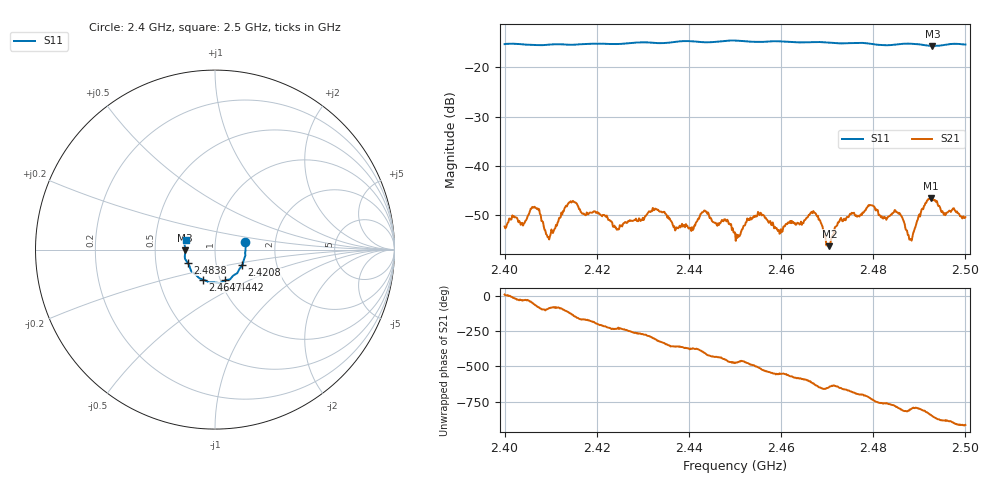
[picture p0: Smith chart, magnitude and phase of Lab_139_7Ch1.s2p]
# Hz S RI R 50
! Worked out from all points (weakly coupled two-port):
!   601 points, 2.4 GHz to 2.5 GHz, reference 50 ohm
!   highest |S21| = -46.61 dB at 2.4925 GHz (marker M1); lowest = -56.4 dB at 2.4705 GHz (marker M2)
!   lowest |S11| = -15.6 dB at 2.4928 GHz (marker M3), VSWR 1.40, Z = 35.8 - j0.364 ohm
!   |S11| at or under -10 dB: start of sweep to end of sweep
!   S12 and S22 are empty: the file has one direction only
!   S11 on the Smith chart (normalised r, x): 2.4 GHz: 1.40, +0.12; 2.4208 GHz: 1.33, -0.24; 2.4442 GHz: 1.05, -0.37; 2.4647 GHz: 0.83, -0.29; 2.4838 GHz: 0.73, -0.11; 2.5 GHz: 0.72, +0.08
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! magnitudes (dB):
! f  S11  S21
! 2.4 GHz  -15.2  -52.4
! 2.4065 GHz  -15.4  -48.3
! 2.4095 GHz  -15.4  -54.5
! 2.4142 GHz  -15.4  -47.5
! 2.4167 GHz  -15.3  -49.5
! 2.4208 GHz  -15.2  -50.0
! 2.4243 GHz  -15.2  -53.0
! 2.4333 GHz  -15.0  -49.0
! 2.4372 GHz  -14.8  -52.9
! 2.4442 GHz  -14.9  -49.5
! 2.45 GHz  -14.5  -53.6
! 2.4555 GHz  -14.8  -49.6
! 2.4647 GHz  -14.9  -51.6
! 2.4667 GHz  -14.8  -49.4
! 2.4705 GHz  -14.9  -56.4
! 2.4753 GHz  -15.0  -49.6
! 2.4833 GHz  -15.5  -50.3
! 2.4838 GHz  -15.4  -49.9
! 2.4882 GHz  -15.2  -55.0
! 2.4925 GHz  -15.6  -46.6
! 2.4928 GHz  -15.6  -47.0
! 2.5 GHz  -15.3  -50.5
